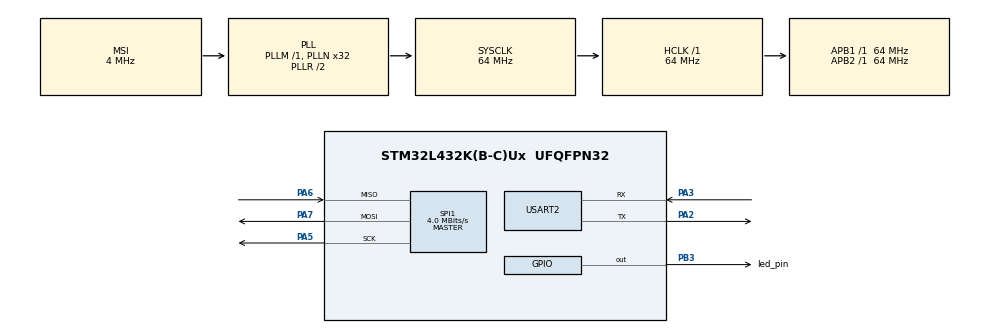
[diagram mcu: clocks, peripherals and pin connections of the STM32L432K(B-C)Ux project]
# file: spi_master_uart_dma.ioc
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Dma.Request0=SPI1_RX
Dma.Request1=SPI1_TX
Dma.Request2=USART2_TX
Dma.SPI1_RX.0.Direction=DMA_PERIPH_TO_MEMORY
Dma.SPI1_RX.0.Instance=DMA1_Channel2
Dma.SPI1_RX.0.MemDataAlignment=DMA_MDATAALIGN_BYTE
Dma.SPI1_RX.0.MemInc=DMA_MINC_ENABLE
Dma.SPI1_RX.0.Mode=DMA_NORMAL
Dma.SPI1_RX.0.PeriphDataAlignment=DMA_PDATAALIGN_BYTE
Dma.SPI1_RX.0.PeriphInc=DMA_PINC_DISABLE
Dma.SPI1_RX.0.Priority=DMA_PRIORITY_HIGH
Dma.SPI1_TX.1.Direction=DMA_MEMORY_TO_PERIPH
Dma.SPI1_TX.1.Instance=DMA1_Channel3
Dma.SPI1_TX.1.MemDataAlignment=DMA_MDATAALIGN_BYTE
Dma.SPI1_TX.1.MemInc=DMA_MINC_ENABLE
Dma.SPI1_TX.1.Mode=DMA_NORMAL
Dma.SPI1_TX.1.PeriphDataAlignment=DMA_PDATAALIGN_BYTE
Dma.SPI1_TX.1.PeriphInc=DMA_PINC_DISABLE
Dma.SPI1_TX.1.Priority=DMA_PRIORITY_HIGH
Dma.USART2_TX.2.Direction=DMA_MEMORY_TO_PERIPH
Dma.USART2_TX.2.Instance=DMA1_Channel7
Dma.USART2_TX.2.MemDataAlignment=DMA_MDATAALIGN_BYTE
Dma.USART2_TX.2.MemInc=DMA_MINC_ENABLE
Dma.USART2_TX.2.Mode=DMA_NORMAL
Dma.USART2_TX.2.PeriphDataAlignment=DMA_PDATAALIGN_BYTE
Dma.USART2_TX.2.PeriphInc=DMA_PINC_DISABLE
Dma.USART2_TX.2.Priority=DMA_PRIORITY_MEDIUM
Mcu.Family=STM32L4
Mcu.Name=STM32L432K(B-C)Ux
Mcu.Package=UFQFPN32
NVIC.DMA1_Channel2_IRQn=true\:0\:0\:false\:false\:true\:false\:true
NVIC.DMA1_Channel3_IRQn=true\:0\:0\:false\:false\:true\:false\:true
NVIC.DMA1_Channel7_IRQn=true\:0\:0\:false\:false\:true\:false\:true
NVIC.PriorityGroup=NVIC_PRIORITYGROUP_4
PA2.Mode=Asynchronous
PA2.Signal=USART2_TX
PA3.Mode=Asynchronous
PA3.Signal=USART2_RX
PA4.Signal=SPI1_NSS
PA5.Mode=Full_Duplex_Master
PA5.Signal=SPI1_SCK
PA6.Mode=Full_Duplex_Master
PA6.Signal=SPI1_MISO
PA7.Mode=Full_Duplex_Master
PA7.Signal=SPI1_MOSI
PB3\ (JTDO-TRACESWO).GPIO_Label=led_pin
PB3\ (JTDO-TRACESWO).Signal=GPIO_Output
ProjectManager.HeapSize=0x200
ProjectManager.StackSize=0x400
ProjectManager.TargetToolchain=Makefile
RCC.AHBFreq_Value=64000000
RCC.APB1Freq_Value=64000000
RCC.APB1TimFreq_Value=64000000
RCC.APB2Freq_Value=64000000
RCC.APB2TimFreq_Value=64000000
RCC.CortexFreq_Value=64000000
RCC.HCLKFreq_Value=64000000
RCC.HSE_VALUE=8000000
RCC.HSI48_VALUE=48000000
RCC.HSI_VALUE=16000000
RCC.LSE_VALUE=32768
RCC.MSI_VALUE=4000000
RCC.PLLN=32
RCC.SYSCLKFreq_VALUE=64000000
RCC.SYSCLKSource=RCC_SYSCLKSOURCE_PLLCLK
RCC.VCOOutputFreq_Value=128000000
SPI1.BaudRatePrescaler=SPI_BAUDRATEPRESCALER_16
SPI1.CalculateBaudRate=4.0 MBits/s
SPI1.DataSize=SPI_DATASIZE_8BIT
SPI1.Direction=SPI_DIRECTION_2LINES
SPI1.Mode=SPI_MODE_MASTER
SPI1.VirtualType=VM_MASTER
USART2.VirtualMode-Asynchronous=VM_ASYNC
board=custom

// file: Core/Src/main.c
/* USER CODE BEGIN Header */
/**
 ******************************************************************************
 * @file           : main.c
 * @brief          : Main program body
 ******************************************************************************
 * @attention
 *
 * <h2><center>&copy; Copyright (c) 2021 STMicroelectronics.
 * All rights reserved.</center></h2>
 *
 * This software component is licensed by ST under BSD 3-Clause license,
 * the "License"; You may not use this file except in compliance with the
 * License. You may obtain a copy of the License at:
 *                        opensource.org/licenses/BSD-3-Clause
 *
 ******************************************************************************
 */
/* USER CODE END Header */
#define ARM_MATH_CM4
#include "main.h"
#include "arm_math.h"
#include "dma.h"
#include "gpio.h"
#include "spi.h"
#include "usart.h"

/* USER CODE BEGIN PM */

#define NB_SUPPORT_VECTORS 11
#define VECTOR_DIMENSION 2
/* USER CODE END PM */

/* USER CODE BEGIN PV */

// UART - For demo print to serial console DMA
char msg[] = "This is a DMA transfer\r\n";

// SPI - Demo Send
uint8_t tx_data[2] = {6, 8};
uint8_t rx_data[2] = {3, 5};

/* USER CODE END PV */

void SystemClock_Config(void);
/* USER CODE BEGIN PFP */
void DMATranserComplete(DMA_HandleTypeDef *hdma);

/* USER CODE END PFP */

int main(void) {

  /* MCU Configuration--------------------------------------------------------*/

  /* Reset of all peripherals, Initializes the Flash interface and the Systick.
   */
  HAL_Init();

  /* Configure the system clock */
  SystemClock_Config();

  /* Initialize all configured peripherals */
  MX_GPIO_Init();
  MX_DMA_Init();
  MX_SPI1_Init();
  MX_USART2_UART_Init();
  /* USER CODE BEGIN 2 */
  HAL_DMA_RegisterCallback(&hdma_usart2_tx, HAL_DMA_XFER_CPLT_CB_ID,
                           &DMATranserComplete);
  /* USER CODE END 2 */

  /* Infinite loop */
  /* USER CODE BEGIN WHILE */
  while (1) {

    // Toggle LED Pin
    // HAL_GPIO_TogglePin(GPIOB, GPIO_PIN_3);

    // Send UART Message
    huart2.Instance->CR3 |= USART_CR3_DMAT;
    HAL_DMA_Start_IT(&hdma_usart2_tx, (uint32_t)msg,
                     (uint32_t)&huart2.Instance->TDR, sizeof(msg));

    // Send SPI Message
    if (HAL_SPI_TransmitReceive_DMA(&hspi1, tx_data, rx_data,
                                    sizeof(tx_data)) != HAL_OK) {
      /* Transfer error  3in transmission process */
      Error_Handler();
    }

    const float32_t dualCoefficients[NB_SUPPORT_VECTORS] = {
        -0.01628988f, -0.0971605f, -0.02707579f, 0.0249406f,
        0.00223095f,  0.04117345f, 0.0262687f,   0.00800358f,
        0.00581823f,  0.02346904f, 0.00862162f}; /**< Dual coefficients */

    HAL_Delay(10);

    /* USER CODE END WHILE */

  }
}

void SystemClock_Config(void) {
  RCC_OscInitTypeDef RCC_OscInitStruct = {0};
  RCC_ClkInitTypeDef RCC_ClkInitStruct = {0};

  /** Configure the main internal regulator output voltage
   */
  if (HAL_PWREx_ControlVoltageScaling(PWR_REGULATOR_VOLTAGE_SCALE1) != HAL_OK) {
    Error_Handler();
  }
  /** Initializes the RCC Oscillators according to the specified parameters
   * in the RCC_OscInitTypeDef structure.
   */
  RCC_OscInitStruct.OscillatorType = RCC_OSCILLATORTYPE_MSI;
  RCC_OscInitStruct.MSIState = RCC_MSI_ON;
  RCC_OscInitStruct.MSICalibrationValue = 0;
  RCC_OscInitStruct.MSIClockRange = RCC_MSIRANGE_6;
  RCC_OscInitStruct.PLL.PLLState = RCC_PLL_ON;
  RCC_OscInitStruct.PLL.PLLSource = RCC_PLLSOURCE_MSI;
  RCC_OscInitStruct.PLL.PLLM = 1;
  RCC_OscInitStruct.PLL.PLLN = 32;
  RCC_OscInitStruct.PLL.PLLP = RCC_PLLP_DIV7;
  RCC_OscInitStruct.PLL.PLLQ = RCC_PLLQ_DIV2;
  RCC_OscInitStruct.PLL.PLLR = RCC_PLLR_DIV2;
  if (HAL_RCC_OscConfig(&RCC_OscInitStruct) != HAL_OK) {
    Error_Handler();
  }
  /** Initializes the CPU, AHB and APB buses clocks
   */
  RCC_ClkInitStruct.ClockType = RCC_CLOCKTYPE_HCLK | RCC_CLOCKTYPE_SYSCLK |
                                RCC_CLOCKTYPE_PCLK1 | RCC_CLOCKTYPE_PCLK2;
  RCC_ClkInitStruct.SYSCLKSource = RCC_SYSCLKSOURCE_PLLCLK;
  RCC_ClkInitStruct.AHBCLKDivider = RCC_SYSCLK_DIV1;
  RCC_ClkInitStruct.APB1CLKDivider = RCC_HCLK_DIV1;
  RCC_ClkInitStruct.APB2CLKDivider = RCC_HCLK_DIV1;

  if (HAL_RCC_ClockConfig(&RCC_ClkInitStruct, FLASH_LATENCY_3) != HAL_OK) {
    Error_Handler();
  }
}

/* USER CODE BEGIN 4 */
void DMATranserComplete(DMA_HandleTypeDef *hdma) {
  // Disable DMA input for UART
  huart2.Instance->CR3 &= ~USART_CR3_DMAT;
  // Toggle LED
  HAL_GPIO_TogglePin(GPIOB, GPIO_PIN_3);
}
/* USER CODE END 4 */

void Error_Handler(void) {
  __disable_irq();
  while (1) {
  }
}

#ifdef USE_FULL_ASSERT
/**
 * @brief  Reports the name of the source file and the source line number
 *         where the assert_param error has occurred.
 * @param  file: pointer to the source file name
 * @param  line: assert_param error line source number
 * @retval None
 */
void assert_failed(uint8_t *file, uint32_t line) {
  /* USER CODE BEGIN 6 */
  /* User can add his own implementation to report the file name and line
     number,
     ex: printf("Wrong parameters value: file %s on line %d\r\n", file, line) */
  /* USER CODE END 6 */
}
#endif /* USE_FULL_ASSERT */

/************************ (C) COPYRIGHT STMicroelectronics *****END OF FILE****/
